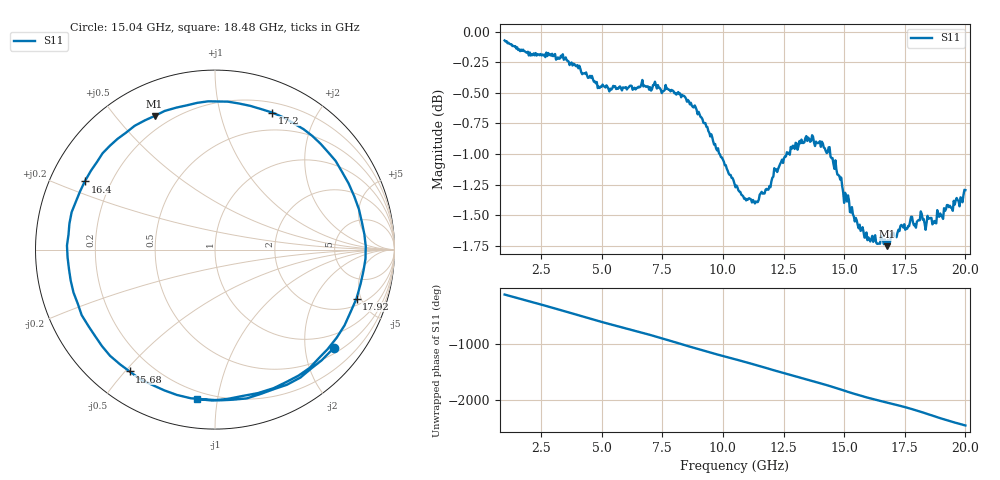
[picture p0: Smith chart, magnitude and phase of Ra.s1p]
!Agilent Technologies,E8361C,US49010278,A.09.20.08
!Agilent E8361C: A.09.20.08
!Date: Tuesday, December 15, 2015 15:55:00
!Correction: S11(Full 2 Port(1,2))
!S1P File: Measurement: S11:
# Hz S  RI  R 50
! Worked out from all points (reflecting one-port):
!   476 points, 1 GHz to 20 GHz, reference 50 ohm
!   lowest |S11| = -1.8 dB at 16.76 GHz (marker M1), VSWR 9.93, Z = 7.1 + j31.8 ohm
!   phase of S11 starts at -122 deg and turns -2333 deg over the sweep
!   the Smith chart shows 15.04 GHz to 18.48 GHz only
!   S11 on the Smith chart (normalised r, x): 15.04 GHz: 0.63, -2.64; 15.68 GHz: 0.12, -0.51; 16.4 GHz: 0.11, +0.24; 17.2 GHz: 0.30, +1.46; 17.92 GHz: 2.56, -4.58; 18.48 GHz: 0.16, -0.88
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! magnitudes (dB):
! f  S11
! 1 GHz  -0.1
! 2.08 GHz  -0.2
! 3.4 GHz  -0.2
! 4.92 GHz  -0.5
! 5.76 GHz  -0.4
! 7.24 GHz  -0.4
! 8.16 GHz  -0.5
! 9.08 GHz  -0.7
! 10.52 GHz  -1.3
! 10.88 GHz  -1.4
! 11.4 GHz  -1.4
! 12.88 GHz  -0.9
! 13.48 GHz  -0.9
! 14.08 GHz  -0.9
! 14.44 GHz  -1.0
! 15.04 GHz  -1.3
! 15.28 GHz  -1.5
! 15.68 GHz  -1.6
! 16.4 GHz  -1.7
! 16.76 GHz  -1.8
! 17.2 GHz  -1.6
! 17.64 GHz  -1.6
! 17.92 GHz  -1.6
! 18.48 GHz  -1.5
! 18.72 GHz  -1.5
! 19.2 GHz  -1.5
! 19.8 GHz  -1.4
! 20 GHz  -1.3
